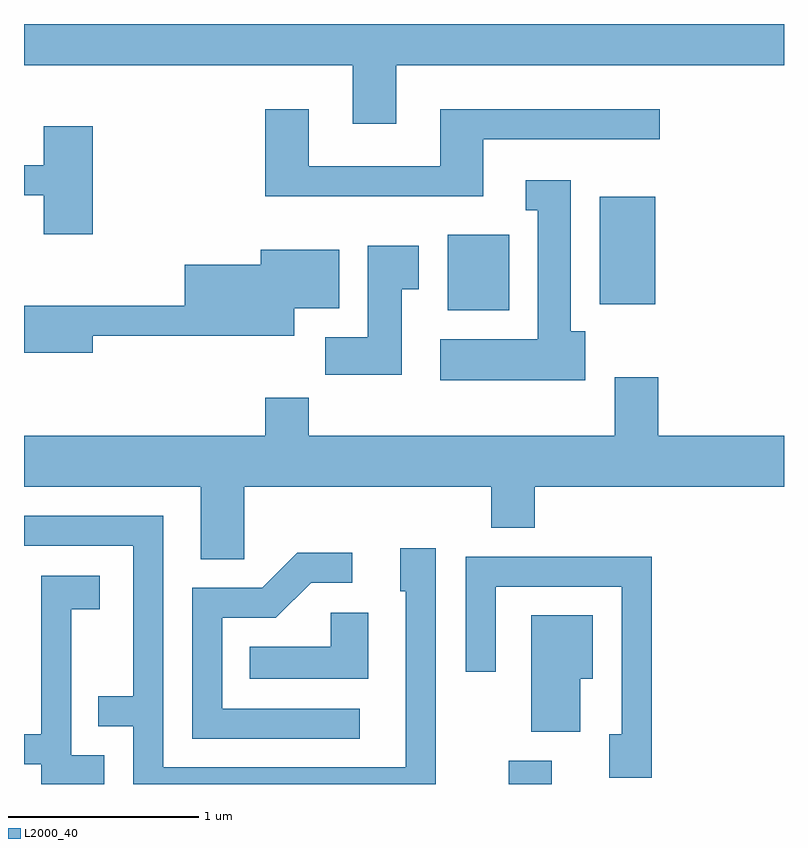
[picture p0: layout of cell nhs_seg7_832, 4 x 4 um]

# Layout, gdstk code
import gdstk
lib = gdstk.Library(unit=1e-6, precision=1e-09)
def R(c, l, rs):  # rectangles x0, y0, x1, y1
    for r in rs: c.add(gdstk.rectangle(r[:2], r[2:], *l))
def P(c, l, *ps):  # polygons
    for p in ps: c.add(gdstk.Polygon(p, *l))
L2000_40 = (2000, 40)

nhs_seg7_832 = lib.new_cell('nhs_seg7_832')
R(nhs_seg7_832, L2000_40, [(212.161,1768.252,212.389,1768.374), (211.841,1770.746,212.164,1771.144), (212.641,1770.776,212.934,1771.344)])
P(nhs_seg7_832, L2000_40, [(211.569,1772.036),(213.611,1772.036),(213.611,1772.252),(209.611,1772.252),(209.611,1772.036),(211.341,1772.036),(211.341,1771.726),(211.569,1771.726)],
  [(212.029,1771.646),(212.958,1771.646),(212.958,1771.804),(211.801,1771.804),(211.801,1771.504),(211.109,1771.504),(211.109,1771.804),(210.881,1771.804),(210.881,1771.346),(212.029,1771.346)],
  [(209.974,1771.714),(209.716,1771.714),(209.716,1771.509),(209.611,1771.509),(209.611,1771.351),(209.716,1771.351),(209.716,1771.146),(209.974,1771.146)],
  [(212.564,1770.634),(212.489,1770.634),(212.489,1771.429),(212.253,1771.429),(212.253,1771.271),(212.316,1771.271),(212.316,1770.594),(211.801,1770.594),(211.801,1770.376),(212.564,1770.376)],
  [(211.599,1770.856),(211.689,1770.856),(211.689,1771.084),(211.421,1771.084),(211.421,1770.604),(211.196,1770.604),(211.196,1770.406),(211.599,1770.406)],
  [(209.974,1770.611),(211.034,1770.611),(211.034,1770.756),(211.269,1770.756),(211.269,1771.064),(210.856,1771.064),(210.856,1770.984),(210.456,1770.984),(210.456,1770.769),(209.611,1770.769),(209.611,1770.521),(209.974,1770.521)],
  [(210.769,1769.816),(212.071,1769.816),(212.071,1769.601),(212.299,1769.601),(212.299,1769.816),(213.611,1769.816),(213.611,1770.084),(212.949,1770.084),(212.949,1770.394),(212.721,1770.394),(212.721,1770.084),(211.109,1770.084),(211.109,1770.284),(210.881,1770.284),(210.881,1770.084),(209.611,1770.084),(209.611,1769.816),(210.541,1769.816),(210.541,1769.436),(210.769,1769.436)],
  [(211.779,1769.494),(211.591,1769.494),(211.591,1769.266),(211.621,1769.266),(211.621,1768.339),(210.344,1768.339),(210.344,1769.664),(209.611,1769.664),(209.611,1769.506),(210.186,1769.506),(210.186,1768.714),(210.003,1768.714),(210.003,1768.556),(210.186,1768.556),(210.186,1768.252),(211.779,1768.252)],
  [(211.378,1768.649),(210.654,1768.649),(210.654,1769.126),(210.937,1769.126),(211.122,1769.311),(211.338,1769.311),(211.338,1769.469),(211.049,1769.469),(210.864,1769.284),(210.496,1769.284),(210.496,1768.491),(211.378,1768.491)],
  [(212.914,1769.449),(211.936,1769.449),(211.936,1768.843),(212.094,1768.843),(212.094,1769.291),(212.756,1769.291),(212.756,1768.514),(212.691,1768.514),(212.691,1768.286),(212.914,1768.286)],
  [(210.034,1768.404),(209.859,1768.404),(209.859,1769.171),(210.009,1769.171),(210.009,1769.349),(209.701,1769.349),(209.701,1768.514),(209.611,1768.514),(209.611,1768.356),(209.701,1768.356),(209.701,1768.252),(210.034,1768.252)],
  [(211.424,1769.154),(211.226,1769.154),(211.226,1768.974),(210.798,1768.974),(210.798,1768.806),(211.424,1768.806)],
  [(212.539,1768.806),(212.604,1768.806),(212.604,1769.139),(212.281,1769.139),(212.281,1768.526),(212.539,1768.526)])

lib.write_gds('nhs_seg7_832.gds')
